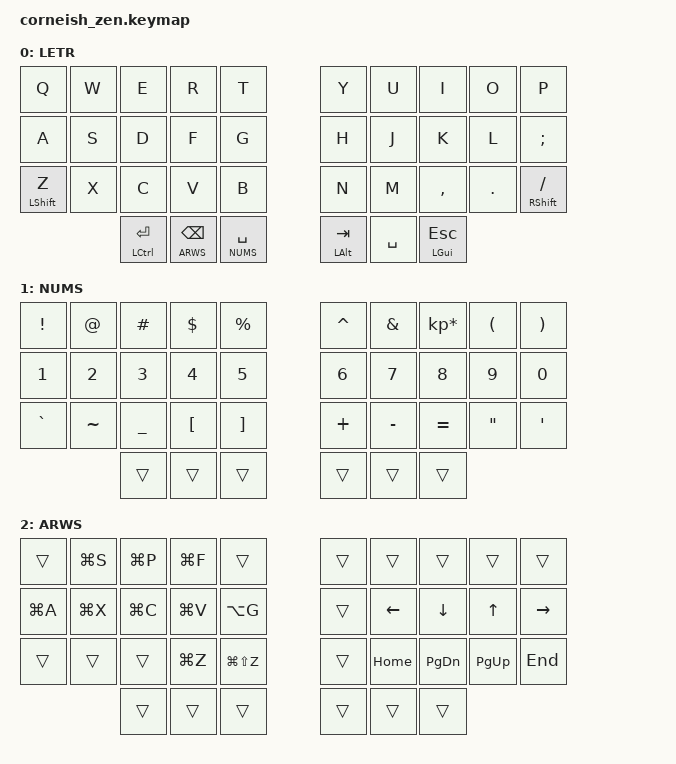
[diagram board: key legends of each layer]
/*
*
* Copyright (c) 2021 Darryl deHaan
* SPDX-License-Identifier: MIT
*
*/

#include <behaviors.dtsi>
#include <dt-bindings/zmk/keys.h>
#include <dt-bindings/zmk/bt.h>

#define LETR  0
#define NUMS  1
#define ARWS  2

/ {
  chosen {
    //zmk,matrix_transform = &default_transform;
    zmk,matrix_transform = &five_column_transform;
  };
};


&mt {
    tapping-term-ms = <150>;
};

/ {

behaviors {
    hm: homerow_mods {
        compatible = "zmk,behavior-hold-tap";
        label = "HOMEROW_MODS";
        #binding-cells = <2>;
        tapping-term-ms = <200>;
        quick-tap-ms = <0>;
        flavor = "tap-preferred";
        bindings = <&kp>, <&kp>;
    };
};

        keymap {
                compatible = "zmk,keymap";

                default_layer {
                        label = "LETR";
// -----------------------------------------------------------------------------------------
// |  Q  |  W  |  E  |  R  |  T  |      |  Y  |  U   |  I  |  O  |  P  |
// |  A  |  S  |  D  |  F  |  G  |      |  H  |  J   |  K  |  L  |  ;  |
// |  LS Z  |  X  |  C  |  V  |  B  |   |  N  |  M   |  ,  |  .  |  RS /  |
//     | GUI RET | L2 BSPC | L1 SPC |   | ALT TAB | CTRL SPC  | GUI ESC |

                        bindings = <
   &kp Q &kp W &kp E &kp R &kp T           &kp Y &kp U  &kp I     &kp O   &kp P
   &kp A &kp S &kp D &kp F &kp G           &kp H &kp J  &kp K     &kp L   &kp SEMI
   &hm LSHIFT Z &kp X &kp C &kp V &kp B    &kp N &kp M  &kp COMMA &kp DOT &hm RSHIFT FSLH
      &hm LCTRL ENTER &lt ARWS BKSP &lt NUMS SPACE   &hm LALT TAB  &kp SPC  &hm LGUI ESC
                        >;
                };

                numbers_layer {
                        label = "NUMS";
// -----------------------------------------------------------------------------------------
// |  !  |  @  |  #  |  $  |  %  |   |  ^  |  &  |  *  |  (  |  )  |
// |  1  |  2  |  3  |  4  |  5  |   |  6  |  7  |  8  |  9  |  0  |
// |  `  |  ~  |  _  |  [  |  ]  |   |  +  |  -  |  =  |  '' |  '  |
//                |    |     | X |   |    |     |    |

                        bindings = <
  &kp EXCL   &kp AT      &kp HASH  &kp DLLR   &kp PRCNT     &kp CARET &kp AMPS   &kp KP_MULTIPLY &kp LPAR  &kp RPAR
  &kp N1     &kp N2      &kp N3    &kp N4     &kp N5        &kp N6    &kp N7     &kp N8          &kp N9    &kp N0
  &kp GRAVE  &kp TILDE   &kp UNDER &kp LBKT   &kp RBKT      &kp PLUS  &kp MINUS  &kp EQUAL       &kp DQT  &kp SQT
                          	    &trans  &trans  &trans      &trans  &trans  &trans
                        >;
                };

                arrows_layer {
                        label = "ARWS";
// -----------------------------------------------------------------------------------------
// |     | save | prnt | find |     |     |   |      |      |       |     |
// | slct| copy | cut  | past | scrs|     |   | LEFT | DWN  |  UP   | RGT |
// |     |      |      | undo | redo|     |   | HOME | PGDN | PGUP  | END |
//              |      |   X  |     |     |   |      |    |

                        bindings = <
   &trans    &kp LG(S) &kp LG(P) &kp LG(F) &trans         &trans &trans   &trans    &trans    &trans
   &kp LG(A) &kp LG(X) &kp LG(C) &kp LG(V) &kp LA(G)      &trans &kp LEFT &kp DOWN  &kp UP    &kp RIGHT
   &trans    &trans    &trans    &kp LG(Z) &kp LG(LS(Z))  &trans &kp HOME &kp PG_DN &kp PG_UP &kp END
                       &trans    &trans    &trans        &trans &trans   &trans
                        >;
                };
        };

};
